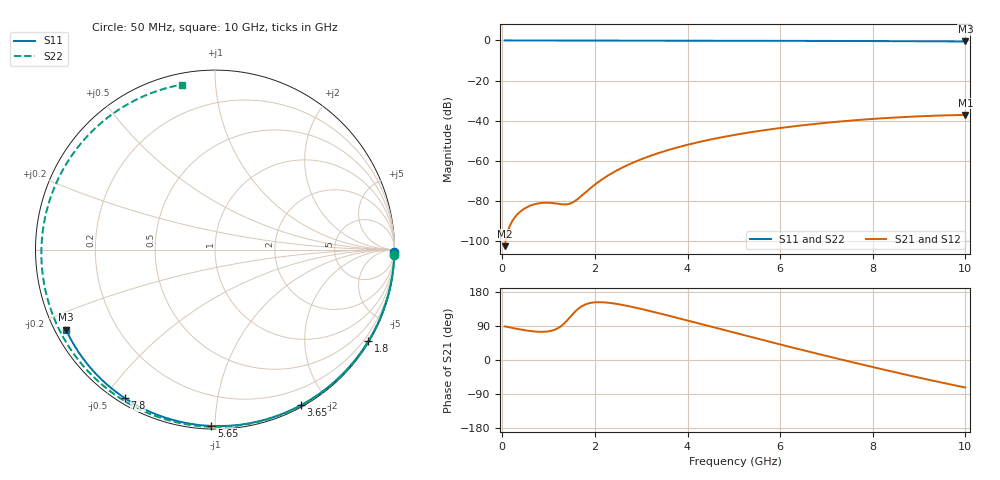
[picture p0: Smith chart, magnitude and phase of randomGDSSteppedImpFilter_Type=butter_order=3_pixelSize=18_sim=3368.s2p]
! freq	dB(S11)	phase(S11)	dB(S12)	phase(S12)
!  dB(S21)	phase(S21)	dB(S22)	phase(S22)
!S-par simulation data
#  GHz  S  DB  R 50
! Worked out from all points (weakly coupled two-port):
!   200 points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, 50 MHz to 10 GHz, reference 50 ohm
!   highest |S21| = -37.16 dB at 10 GHz (marker M1); lowest = -102.7 dB at 50 MHz (marker M2)
!   lowest |S11| = -0.5 dB at 10 GHz (marker M3), VSWR 33.70, Z = 1.58 - j12.6 ohm
!   |S11| at or under -10 dB: nowhere
!   |S22| runs from -0.6 to 0.0 dB; largest |S21 - S12| = 0
!   S11 on the Smith chart (normalised r, x): 50 MHz: open; 1.8 GHz: 0.03, -3.62; 3.65 GHz: 0.02, -1.70; 5.65 GHz: 0.02, -0.98; 7.8 GHz: 0.02, -0.56; 10 GHz: 0.03, -0.25
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0.05  -0.00 -0.9  -102.69 88.8  -102.69 88.8  -0.00 -1.7
0.4  -0.01 -7.0  -85.23 80.3  -85.23 80.3  -0.02 -13.8
0.75  -0.02 -13.0  -81.46 74.7  -81.46 74.7  -0.03 -25.6
1.55  -0.03 -26.7  -80.45 124.9  -80.45 124.9  -0.06 -51.9
1.6  -0.03 -27.5  -79.66 131.0  -79.66 131.0  -0.07 -53.5
1.75  -0.04 -30.1  -76.77 144.0  -76.77 144.0  -0.07 -58.2
1.8  -0.04 -30.9  -75.76 146.8  -75.76 146.8  -0.07 -59.8
2.15  -0.05 -36.8  -69.43 152.4  -69.43 152.4  -0.09 -70.4
2.5  -0.05 -42.5  -64.57 147.4  -64.57 147.4  -0.10 -80.7
2.9  -0.06 -49.1  -60.24 137.5  -60.24 137.5  -0.11 -92.0
3.4  -0.08 -57.1  -56.02 122.9  -56.02 122.9  -0.13 -105.5
3.65  -0.08 -61.0  -54.25 115.1  -54.25 115.1  -0.14 -112.0
4.35  -0.10 -71.9  -50.17 93.0  -50.17 93.0  -0.16 -129.4
5.05  -0.13 -82.4  -47.01 70.7  -47.01 70.7  -0.20 -145.8
5.65  -0.15 -91.2  -44.81 51.8  -44.81 51.8  -0.23 -159.4
6.15  -0.18 -98.4  -43.26 36.4  -43.26 36.4  -0.26 -170.4
6.7  -0.21 -106.1  -41.80 19.7  -41.80 19.7  -0.30 177.5
7.25  -0.24 -113.7  -40.55 3.2  -40.55 3.2  -0.34 165.4
7.8  -0.28 -121.3  -39.50 -12.9  -39.50 -12.9  -0.38 153.2
8.35  -0.33 -128.8  -38.64 -28.6  -38.64 -28.6  -0.42 140.8
9.2  -0.42 -140.5  -37.68 -52.0  -37.68 -52.0  -0.49 120.9
10  -0.52 -151.8  -37.16 -72.6  -37.16 -72.6  -0.56 101.3
